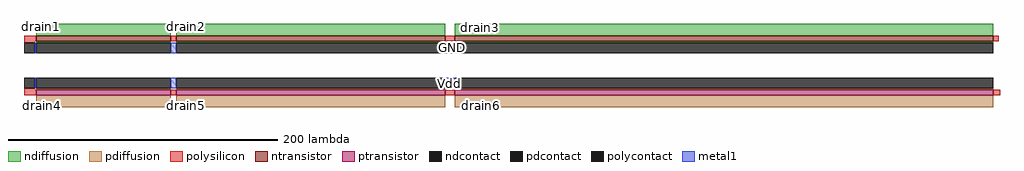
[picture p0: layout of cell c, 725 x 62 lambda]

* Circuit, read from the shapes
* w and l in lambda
.subckt c GND Vdd drain1 drain2 drain3 drain4 drain5 drain6
M1 drain1 GND GND VSUBS nfet w=100 l=4
M2 drain2 GND GND VSUBS nfet w=200 l=4
M3 drain3 GND GND VSUBS nfet w=400 l=4
M4 Vdd Vdd drain4 NWELL pfet w=100 l=4
M5 Vdd Vdd drain5 NWELL pfet w=200 l=4
M6 Vdd Vdd drain6 NWELL pfet w=400 l=4
.ends

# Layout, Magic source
magic
tech hpcmos40
<< ndiffusion >>
rect -21 8 79 17
rect 83 8 283 17
rect 290 8 690 17
rect -21 3 79 4
rect 83 3 283 4
rect 290 3 690 4
<< pdiffusion >>
rect -21 -32 79 -31
rect 83 -32 283 -31
rect 290 -32 690 -31
rect -21 -45 79 -36
rect 83 -45 283 -36
rect 290 -45 690 -36
<< polysilicon >>
rect -30 4 -21 8
rect 79 4 83 8
rect 283 4 290 8
rect 690 4 694 8
rect -30 3 -22 4
rect -30 -32 -22 -31
rect -30 -36 -21 -32
rect 79 -36 83 -32
rect 283 -36 290 -32
rect 690 -36 695 -32
<< metal1 >>
rect -22 -5 -21 3
rect 79 -5 83 3
rect 283 -5 290 3
rect -22 -31 -21 -23
rect 79 -31 83 -23
rect 283 -31 290 -23
<< polycontact >>
rect -30 -5 -22 3
rect -30 -31 -22 -23
<< ndcontact >>
rect -21 -5 79 3
rect 83 -5 283 3
rect 290 -5 690 3
<< pdcontact >>
rect -21 -31 79 -23
rect 83 -31 283 -23
rect 290 -31 690 -23
<< ntransistor >>
rect -21 4 79 8
rect 83 4 283 8
rect 290 4 690 8
<< ptransistor >>
rect -21 -36 79 -32
rect 83 -36 283 -32
rect 290 -36 690 -32
<< labels >>
rlabel ndiffusion -17 15 -17 15 5 drain1
rlabel pdiffusion -16 -44 -16 -44 1 drain4
rlabel ndiffusion 91 15 91 15 5 drain2
rlabel pdiffusion 91 -44 91 -44 1 drain5
rlabel metal1 288 -1 288 -1 1 GND
rlabel ndiffusion 309 14 309 14 5 drain3
rlabel pdiffusion 310 -44 310 -44 1 drain6
rlabel metal1 286 -27 286 -27 1 Vdd
<< end >>
